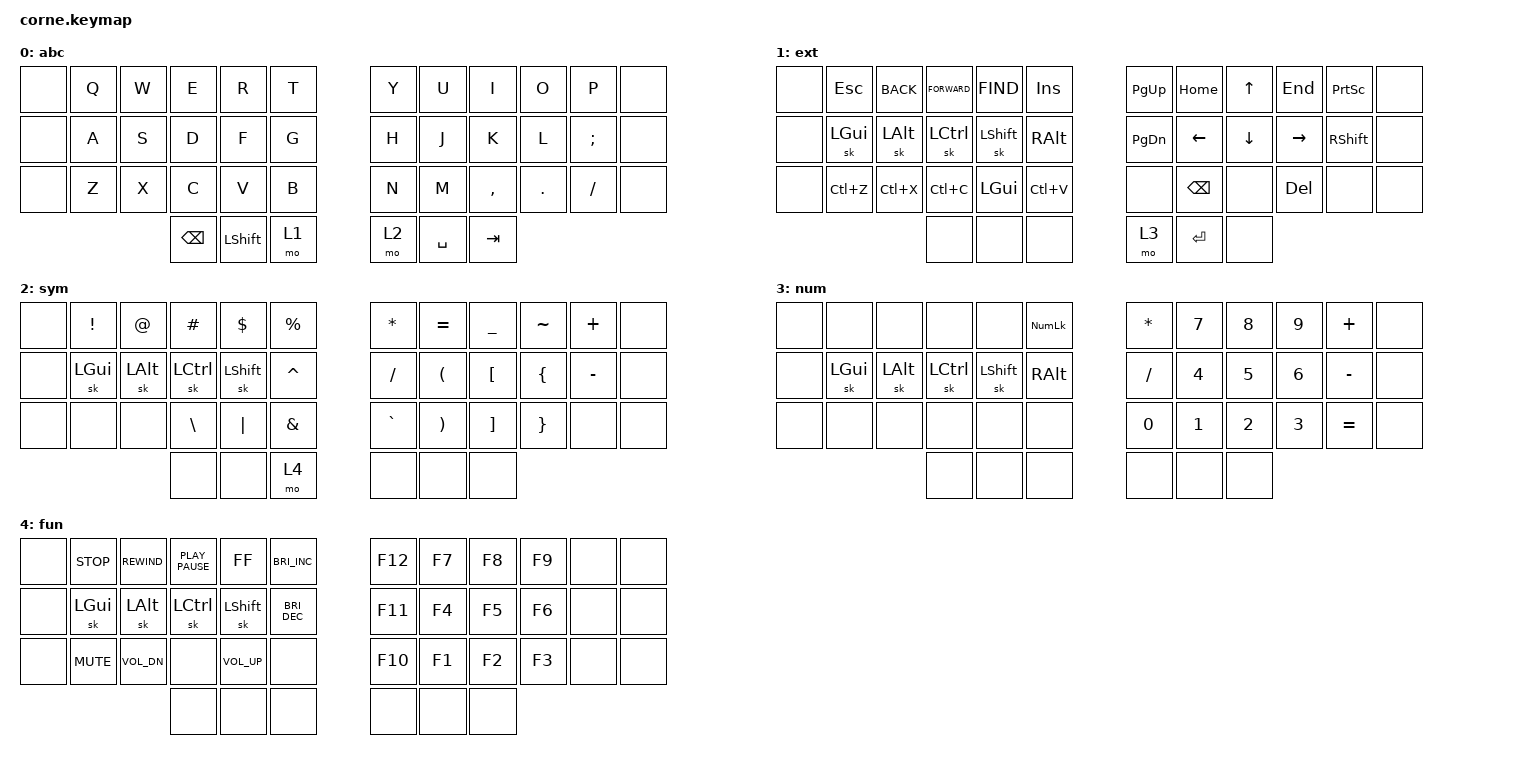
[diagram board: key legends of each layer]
/*
 * Copyright (c) 2020 The ZMK Contributors
 *
 * SPDX-License-Identifier: MIT
 */

#include <behaviors.dtsi>
#include <dt-bindings/zmk/keys.h>

#define ABC 0 // Maya

// #define EXT 1
// #define SYM 2
// #define NUM 3
// #define FUN 4
// #define SYS 5

/ {
    keymap {
        compatible = "zmk,keymap";

        abc {
            // -----------------------------------------------------------------------------------------
            // |  B  |  L  |  D  |  G  |  Q  |     |  J  |  F  |  O  |  U  |  '  |
            // |  N  |  R  |  T  |  S  |  V  |     |  K  |  H  |  A  |  E  |  I  |
            // |  X  |  M  |  C  |  W  |  Z  |     |  P  |  Y  |  ,  |  .  |  ;  |
            //             | NUM |SHIFT| EXT |     | SYM | SPC | FUN |

            bindings = <
&none  &kp Q  &kp W  &kp E          &kp R           &kp T    &kp Y  &kp U      &kp I      &kp O    &kp P          &none
&none  &kp A  &kp S  &kp D          &kp F           &kp G    &kp H  &kp J      &kp K      &kp L    &kp SEMICOLON  &none
&none  &kp Z  &kp X  &kp C          &kp V           &kp B    &kp N  &kp M      &kp COMMA  &kp DOT  &kp SLASH      &none
                     &kp BACKSPACE  &kp LEFT_SHIFT  &mo 1    &mo 2  &kp SPACE  &kp TAB
            >;
        };

        ext {
            bindings = <
&none  &kp ESC       &kp K_BACK    &kp K_FORWARD     &kp K_FIND      &kp INSERT       &kp PAGE_UP    &kp HOME       &kp UP    &kp END     &kp PRINTSCREEN  &none
&none  &sk LEFT_GUI  &sk LEFT_ALT  &sk LEFT_CONTROL  &sk LEFT_SHIFT  &kp RIGHT_ALT    &kp PAGE_DOWN  &kp LEFT       &kp DOWN  &kp RIGHT   &kp RIGHT_SHIFT  &none
&none  &kp LC(Z)     &kp LC(X)     &kp LC(C)         &kp LEFT_GUI    &kp LC(V)        &none          &kp BACKSPACE  &none     &kp DELETE  &none            &none
                                   &none             &none           &none            &mo 3          &kp ENTER      &none
            >;
        };

        sym {
            bindings = <
&none  &kp EXCL      &kp AT        &kp HASH          &kp DOLLAR      &kp PERCENT    &kp ASTERISK  &kp EQUAL              &kp UNDER          &kp TILDE        &kp PLUS   &none
&none  &sk LEFT_GUI  &sk LEFT_ALT  &sk LEFT_CONTROL  &sk LEFT_SHIFT  &kp CARET      &kp SLASH     &kp LEFT_PARENTHESIS   &kp LEFT_BRACKET   &kp LEFT_BRACE   &kp MINUS  &none
&none  &none         &none         &kp BACKSLASH     &kp PIPE        &kp AMPS       &kp GRAVE     &kp RIGHT_PARENTHESIS  &kp RIGHT_BRACKET  &kp RIGHT_BRACE  &none      &none
                                   &none             &none           &mo 4          &none         &none                  &none
            >;
        };

        num {
            bindings = <
&none  &none         &none         &none             &none           &kp KP_NUMLOCK    &kp ASTERISK  &kp N7        &kp N8        &kp N9        &kp PLUS   &none
&none  &sk LEFT_GUI  &sk LEFT_ALT  &sk LEFT_CONTROL  &sk LEFT_SHIFT  &kp RIGHT_ALT     &kp SLASH     &kp NUMBER_4  &kp N5        &kp NUMBER_6  &kp MINUS  &none
&none  &none         &none         &none             &none           &none             &kp N0        &kp NUMBER_1  &kp NUMBER_2  &kp NUMBER_3  &kp EQUAL  &none
                                   &none             &none           &none             &none         &none         &none
            >;
        };

        fun {
            bindings = <
&none  &kp K_STOP    &kp C_REWIND  &kp K_PLAY_PAUSE  &kp C_FF         &kp C_BRIGHTNESS_INC    &kp F12  &kp F7  &kp F8  &kp F9  &none  &none
&none  &sk LEFT_GUI  &sk LEFT_ALT  &sk LEFT_CONTROL  &sk LEFT_SHIFT   &kp C_BRIGHTNESS_DEC    &kp F11  &kp F4  &kp F5  &kp F6  &none  &none
&none  &kp K_MUTE    &kp C_VOL_DN  &none             &kp C_VOLUME_UP  &none                   &kp F10  &kp F1  &kp F2  &kp F3  &none  &none
                                   &none             &none            &none                   &none    &none   &none
            >;
        };
    };
};
